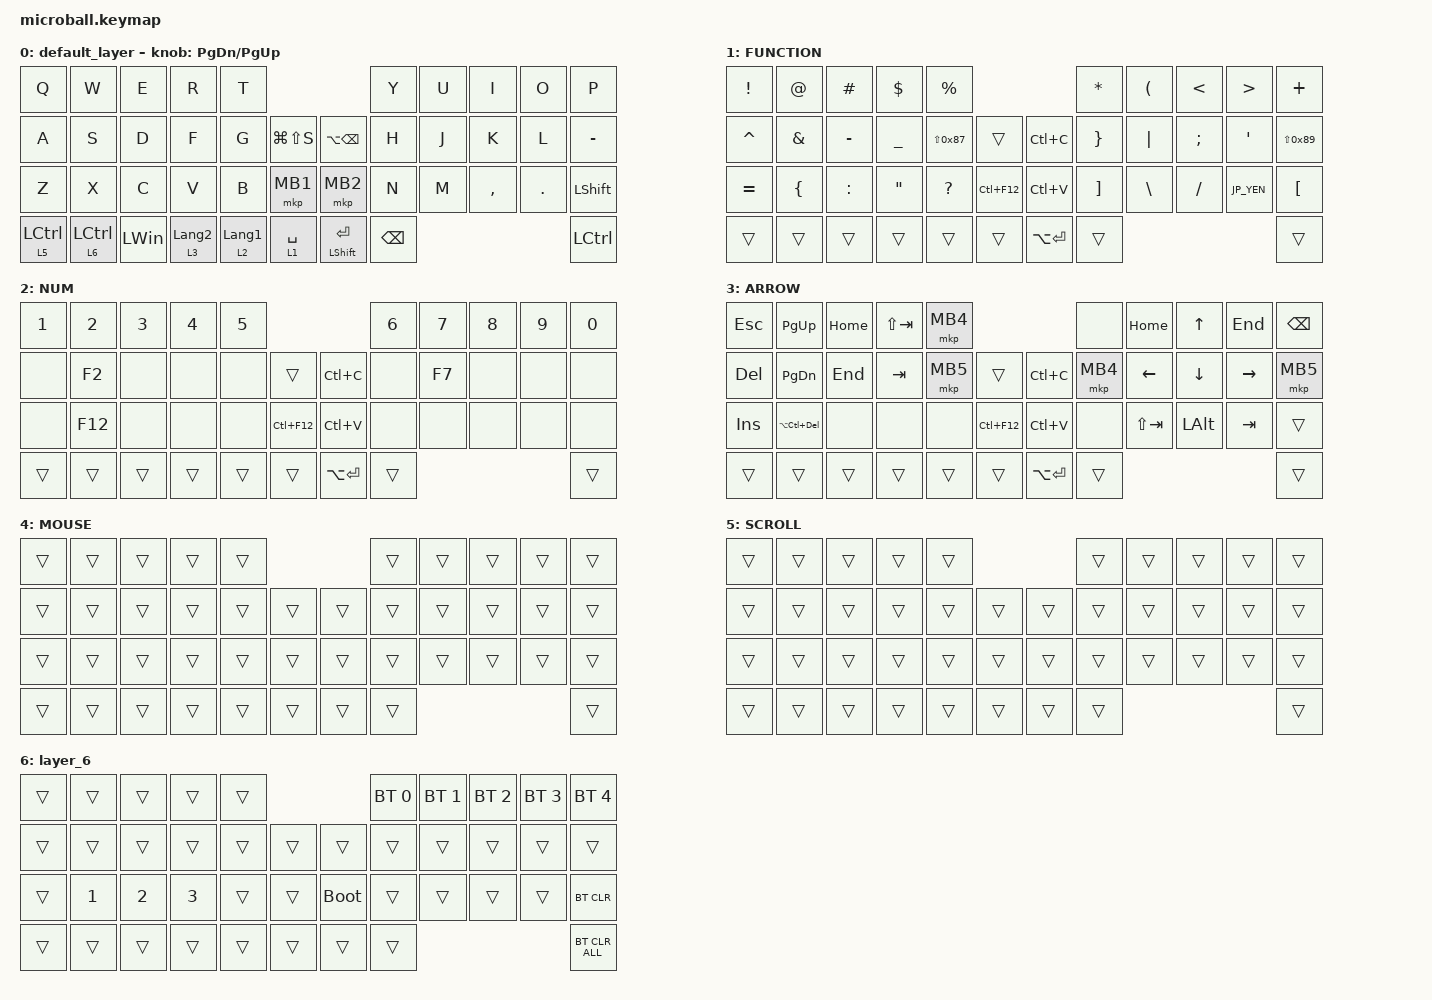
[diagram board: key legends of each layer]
#include <behaviors.dtsi>
#include <dt-bindings/zmk/bt.h>
#include <dt-bindings/zmk/keys.h>
#include <dt-bindings/zmk/pointing.h>

#define MOUSE 4
#define SCROLL 5
#define NUM 6

// OS設定を日本語キーボードのまま使用するための変換定義

#define JP_DQUOTE       AT                // "
#define JP_AMPERSAND    CARET             // &
#define JP_QUOTE        AMPERSAND         // '
#define JP_EQUAL        UNDER             // =
#define JP_CARET        EQUAL             // ^
#define JP_YEN          0x89              // ¥
#define JP_PLUS         COLON             // +
#define JP_TILDE        PLUS              // ~
#define JP_PIPE         LS(0x89)          // |
#define JP_AT           LEFT_BRACKET      // @
#define JP_COLON        SINGLE_QUOTE      // :
#define JP_ASTERISK     DOUBLE_QUOTES     // *
#define JP_BACKQUOTE    LEFT_BRACE        // `
#define JP_UNDERSCORE   LS(0x87)          // _
#define JP_LBRACKET     RIGHT_BRACKET     // [
#define JP_RBRACKET     BACKSLASH         // ]
#define JP_LPAREN       ASTERISK          // (
#define JP_RPAREN       LEFT_PARENTHESIS  // )
#define JP_LBRACE       RIGHT_BRACE       // {
#define JP_RBRACE       PIPE              // }
#define JP_KANA         LANGUAGE_1        // かな
#define JP_EISU         LANGUAGE_2        // 英数
#define JP_HANZEN       GRAVE             // 半角/全角

// 1. Mod-Tap設定の改善

&mt {
    flavor = "tap-preferred";     // タップ優先
    tapping-term-ms = <200>;      // 適切な長押し時間
    quick-tap-ms = <150>;          // 連続タップ対応
    retro-tap;                     // 長押し失敗時の救済
};

&lt {
    quick-tap-ms = <175>;  // 連続タップを175ms以内なら確実に処理
    // これだけでスペース連続入力が改善される
};

/ {
    combos { compatible = "zmk,combos"; };

    macros {
        to_layer_0: to_layer_0 {
            compatible = "zmk,behavior-macro-one-param";
            #binding-cells = <1>;
            bindings = <&to 0 &macro_param_1to1 &kp MACRO_PLACEHOLDER>;
            label = "TO_LAYER_0";
        };
    };

    behaviors {
        lt_to_layer_0: lt_to_layer_0 {
            compatible = "zmk,behavior-hold-tap";
            label = "LAYER_TAP_TO_0";
            bindings = <&mo>, <&to_layer_0>;

            #binding-cells = <2>;
            tapping-term-ms = <200>;
        };
    };

    keymap {
        compatible = "zmk,keymap";

        default_layer {
            bindings = <
&kp Q        &kp W        &kp E         &kp R             &kp T                                                      &kp Y          &kp U  &kp I      &kp O    &kp P
&kp A        &kp S        &kp D         &kp F             &kp G             &kp LG(LS(S))      &kp LA(BACKSPACE)     &kp H          &kp J  &kp K      &kp L    &kp MINUS
&kp Z        &kp X        &kp C         &kp V             &kp B             &mkp MB1           &mkp MB2              &kp N          &kp M  &kp COMMA  &kp DOT  &kp LEFT_SHIFT
&lt 5 LCTRL  &lt 6 LCTRL  &kp LEFT_WIN  &lt 3 LANGUAGE_2  &lt 2 LANGUAGE_1  &lt 1 SPACE        &mt LEFT_SHIFT ENTER  &kp BACKSPACE                             &kp LCTRL
            >;

            sensor-bindings = <&inc_dec_kp PAGE_DOWN PAGE_UP>;
        };

        FUNCTION {
            bindings = <
&kp EXCLAMATION   &kp JP_DQUOTE     &kp HASH     &kp DOLLAR       &kp PERCENT                                        &kp JP_LPAREN    &kp JP_RPAREN    &kp LESS_THAN  &kp GREATER_THAN  &kp JP_TILDE
&kp JP_AMPERSAND  &kp JP_QUOTE      &kp MINUS    &kp JP_EQUAL     &kp JP_UNDERSCORE  &trans           &kp LC(C)      &kp JP_LBRACE    &kp JP_RBRACE    &kp SEMI       &kp JP_COLON      &kp JP_PIPE
&kp JP_CARET      &kp JP_BACKQUOTE  &kp JP_PLUS  &kp JP_ASTERISK  &kp QUESTION       &kp LC(F12)      &kp LC(V)      &kp JP_LBRACKET  &kp JP_RBRACKET  &kp SLASH      &kp JP_YEN        &kp JP_AT
&trans            &trans            &trans       &trans           &trans             &trans           &kp LA(ENTER)  &trans                                                             &trans
            >;
        };

        NUM {
            bindings = <
&kp NUMBER_1  &kp NUMBER_2  &kp NUMBER_3  &kp NUMBER_4  &kp NUMBER_5                                  &kp NUMBER_6  &kp NUMBER_7  &kp NUMBER_8  &kp NUMBER_9  &kp NUMBER_0
&none         &kp F2        &none         &none         &none         &trans           &kp LC(C)      &none         &kp F7        &none         &none         &none
&none         &kp F12       &none         &none         &none         &kp LC(F12)      &kp LC(V)      &none         &none         &none         &none         &none
&trans        &trans        &trans        &trans        &trans        &trans           &kp LA(ENTER)  &trans                                                  &trans
            >;
        };

        ARROW {
            bindings = <
&kp ESCAPE  &kp PAGE_UP         &kp HOME  &kp LS(TAB)  &mkp MB4                                  &none     &kp HOME        &kp UP_ARROW    &kp END          &kp BACKSPACE
&kp DELETE  &kp PAGE_DOWN       &kp END   &kp TAB      &mkp MB5  &trans           &kp LC(C)      &mkp MB4  &kp LEFT_ARROW  &kp DOWN_ARROW  &kp RIGHT_ARROW  &mkp MB5
&kp INSERT  &kp LA(LC(DELETE))  &none     &none        &none     &kp LC(F12)      &kp LC(V)      &none     &kp LS(TAB)     &kp LALT        &kp TAB          &trans
&trans      &trans              &trans    &trans       &trans    &trans           &kp LA(ENTER)  &trans                                                     &trans
            >;
        };

        MOUSE {
            bindings = <
&trans  &trans  &trans  &trans  &trans                      &trans  &trans  &trans  &trans  &trans
&trans  &trans  &trans  &trans  &trans  &trans      &trans  &trans  &trans  &trans  &trans  &trans
&trans  &trans  &trans  &trans  &trans  &trans      &trans  &trans  &trans  &trans  &trans  &trans
&trans  &trans  &trans  &trans  &trans  &trans      &trans  &trans                          &trans
            >;
        };

        SCROLL {
            bindings = <
&trans  &trans  &trans  &trans  &trans                      &trans  &trans  &trans  &trans  &trans
&trans  &trans  &trans  &trans  &trans  &trans      &trans  &trans  &trans  &trans  &trans  &trans
&trans  &trans  &trans  &trans  &trans  &trans      &trans  &trans  &trans  &trans  &trans  &trans
&trans  &trans  &trans  &trans  &trans  &trans      &trans  &trans                          &trans
            >;
        };

        layer_6 {
            bindings = <
&trans  &trans        &trans        &trans        &trans                           &bt BT_SEL 0  &bt BT_SEL 1  &bt BT_SEL 2  &bt BT_SEL 3  &bt BT_SEL 4
&trans  &trans        &trans        &trans        &trans  &trans      &trans       &trans        &trans        &trans        &trans        &trans
&trans  &kp NUMBER_1  &kp NUMBER_2  &kp NUMBER_3  &trans  &trans      &bootloader  &trans        &trans        &trans        &trans        &bt BT_CLR
&trans  &trans        &trans        &trans        &trans  &trans      &trans       &trans                                                  &bt BT_CLR_ALL
            >;
        };
    };
};
